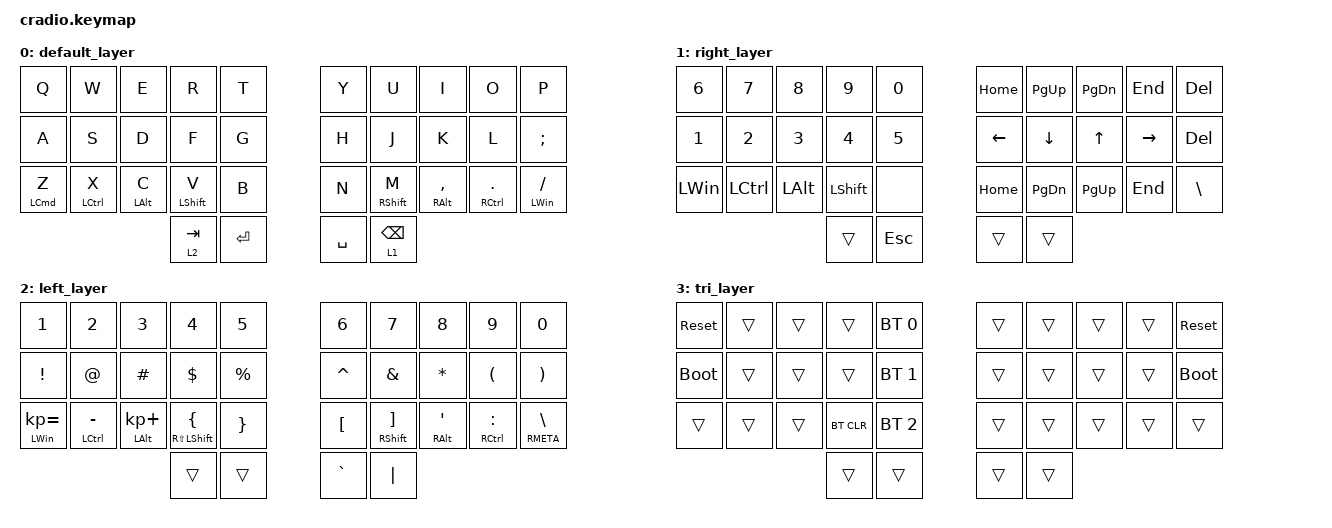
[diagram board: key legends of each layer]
// Copyright (c) 2022 The ZMK Contributors
// SPDX-License-Identifier: MIT

#include <behaviors.dtsi>
#include <dt-bindings/zmk/bt.h>
#include <dt-bindings/zmk/keys.h>

// Home row mods macro

#define HRML(k1,k2,k3,k4) &ht LSHFT k1  &ht LALT k2  &ht LCTRL k3  &ht LGUI k4
#define HRMR(k1,k2,k3,k4) &ht RGUI k1  &ht RCTRL k2  &ht RALT k3  &ht RSHFT k4

&mt {
    quick-tap-ms = <200>;
    flavor = "balanced";
    require-prior-idle-ms = <150>;
};

&lt { quick-tap-ms = <200>; };

/ {
    behaviors {
        ht: hold_tap {
            compatible = "zmk,behavior-hold-tap";
            #binding-cells = <2>;
            flavor = "tap-preferred";
            tapping-term-ms = <220>;
            quick-tap-ms = <200>;
            require-prior-idle-ms = <150>;
            bindings = <&kp>, <&kp>;
        };
    };

    conditional_layers {
        compatible = "zmk,conditional-layers";

        tri_layer {
            if-layers = <1 2>;
            then-layer = <3>;
        };
    };

    combos {
        compatible = "zmk,combos";

        combos_right_par {
            bindings = <&kp RIGHT_PARENTHESIS>;
            key-positions = <2 3>;
            layers = <0>;
        };

        combos_left_par {
            bindings = <&kp LS(LEFT_PARENTHESIS)>;
            key-positions = <6 7>;
            layers = <0>;
        };

        combos_tab {
            bindings = <&kp TAB>;
            key-positions = <12 13>;
            layers = <0>;
        };

        combos_alt {
            bindings = <&kp LEFT_ALT>;
            key-positions = <16 17>;
            layers = <0>;
        };

        combos_right_bracket {
            bindings = <&kp RIGHT_BRACKET>;
            key-positions = <22 23>;
            layers = <0>;
        };

        combos_left_bracket {
            bindings = <&kp LEFT_BRACKET>;
            key-positions = <26 27>;
            layers = <0>;
        };

        combos_asterisk {
            bindings = <&kp LS(N8)>;
            key-positions = <12 13>;
            layers = <1>;
        };

        combos_ampersand {
            bindings = <&kp LS(N7)>;
            key-positions = <16 17>;
            layers = <1>;
        };

        combos_quote {
            bindings = <&kp SQT>;
            key-positions = <17 18>;
        };
    };

    keymap {
        compatible = "zmk,keymap";

        default_layer {
            bindings = <
&kp Q       &kp W        &kp E           &kp R             &kp T        &kp Y      &kp U              &kp I           &kp O             &kp P
&kp A       &kp S        &kp D           &kp F             &kp G        &kp H      &kp J              &kp K           &kp L             &kp SEMI
&mt LCMD Z  &mt LCTRL X  &mt LEFT_ALT C  &mt LEFT_SHIFT V  &kp B        &kp N      &mt RIGHT_SHIFT M  &mt RALT COMMA  &mt RCTRL PERIOD  &mt LEFT_WIN SLASH
                                         &lt 2 TAB         &kp ENTER    &kp SPACE  &lt 1 BSPC
            >;
        };

        right_layer {
            bindings = <
&kp NUMBER_6  &kp N7     &kp N8        &kp N9      &kp N0        &kp HOME        &kp PG_UP       &kp PAGE_DOWN  &kp END          &kp DELETE
&kp N1        &kp N2     &kp N3        &kp N4      &kp N5        &kp LEFT_ARROW  &kp DOWN_ARROW  &kp UP_ARROW   &kp RIGHT_ARROW  &kp DEL
&kp LEFT_WIN  &kp LCTRL  &kp LEFT_ALT  &kp LSHIFT  &none         &kp HOME        &kp PAGE_DOWN   &kp PAGE_UP    &kp END          &kp BACKSLASH
                                       &trans       &kp ESCAPE    &trans          &trans
            >;
        };

        left_layer {
            bindings = <
&kp NUMBER_1       &kp NUMBER_2     &kp NUMBER_3      &kp NUMBER_4                   &kp NUMBER_5       &kp NUMBER_6      &kp NUMBER_7              &kp NUMBER_8   &kp NUMBER_9          &kp NUMBER_0
&kp EXCLAMATION    &kp AT_SIGN      &kp HASH          &kp DOLLAR                     &kp PERCENT        &kp CARET         &kp AMPERSAND             &kp ASTERISK   &kp LEFT_PARENTHESIS  &kp RIGHT_PARENTHESIS
&mt LWIN KP_EQUAL  &mt LCTRL MINUS  &mt LALT KP_PLUS  &mt RS(LEFT_SHIFT) LEFT_BRACE  &kp RIGHT_BRACE    &kp LEFT_BRACKET  &mt RSHIFT RIGHT_BRACKET  &mt RALT APOS  &mt RCTRL COLON       &mt RMETA BACKSLASH
                                                      &trans                         &trans             &kp GRAVE         &kp PIPE
            >;
        };

        tri_layer {
            bindings = <
&sys_reset   &trans  &trans  &trans      &bt BT_SEL 0    &trans  &trans  &trans  &trans  &sys_reset
&bootloader  &trans  &trans  &trans      &bt BT_SEL 1    &trans  &trans  &trans  &trans  &bootloader
&trans       &trans  &trans  &bt BT_CLR  &bt BT_SEL 2    &trans  &trans  &trans  &trans  &trans
                             &trans      &trans          &trans  &trans
            >;
        };
    };
};

